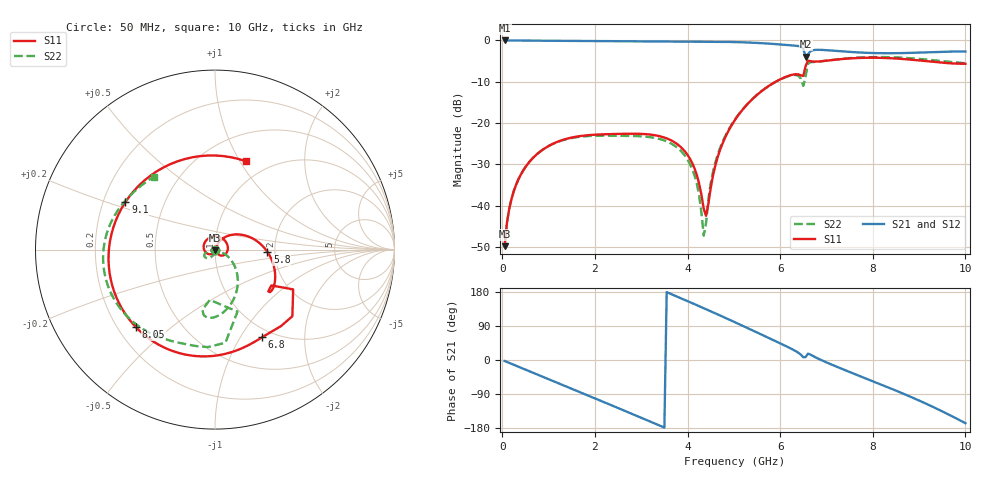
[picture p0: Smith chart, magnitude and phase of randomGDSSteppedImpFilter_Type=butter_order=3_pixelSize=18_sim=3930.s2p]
! freq	dB(S11)	phase(S11)	dB(S12)	phase(S12)
!  dB(S21)	phase(S21)	dB(S22)	phase(S22)
!S-par simulation data
#  GHz  S  DB  R 50
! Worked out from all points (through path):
!   200 points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, 50 MHz to 10 GHz, reference 50 ohm
!   highest |S21| = 0.00 dB at 50 MHz (marker M1); lowest = -3.9 dB at 6.55 GHz (marker M2)
!   group delay of S21, straight-line fit = 146 ps
!   lowest |S11| = -49.8 dB at 50 MHz (marker M3), VSWR 1.01, Z = 50 - j0.322 ohm
!   |S11| at or under -10 dB: start of sweep to 5.902 GHz
!   |S22| runs from -49.8 to -4.0 dB; largest |S21 - S12| = 0
!   S11 on the Smith chart (normalised r, x): 50 MHz: 1.00, -0.01; 5.8 GHz: 1.82, -0.05; 6.8 GHz: 0.89, -1.25; 8.05 GHz: 0.27, -0.38; 9.1 GHz: 0.29, +0.23; 10 GHz: 0.79, +1.06
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0.05  -49.82 -85.8  -0.00 -2.6  -0.00 -2.6  -49.79 -83.5
0.2  -38.35 -101.8  -0.02 -10.2  -0.02 -10.2  -38.28 -94.5
0.5  -30.67 -124.6  -0.04 -25.4  -0.04 -25.4  -30.62 -106.1
1.75  -23.06 139.6  -0.12 -88.5  -0.12 -88.5  -23.24 -139.3
2.5  -22.63 71.8  -0.17 -126.7  -0.17 -126.7  -23.09 -146.9
3.4  -23.19 -7.9  -0.24 -173.1  -0.24 -173.1  -23.87 -155.7
4.05  -28.60 -52.5  -0.27 152.7  -0.27 152.7  -29.86 -168.6
4.25  -34.64 -54.8  -0.29 142.1  -0.29 142.1  -37.45 -165.7
4.35  -40.77 -30.5  -0.29 136.7  -0.29 136.7  -47.26 -114.6
4.4  -42.47 8.9  -0.30 134.0  -0.30 134.0  -44.23 -47.8
4.6  -30.29 64.4  -0.32 123.1  -0.32 123.1  -29.56 -20.7
5.05  -18.84 44.2  -0.40 98.2  -0.40 98.2  -18.70 -34.9
5.8  -10.69 -2.5  -0.80 55.5  -0.80 55.5  -10.71 -68.7
6.4  -8.23 -37.7  -1.37 18.6  -1.37 18.6  -8.61 -99.7
6.55  -6.22 -27.0  -3.92 7.7  -3.92 7.7  -8.69 -70.1
6.7  -5.10 -54.2  -2.38 11.2  -2.38 11.2  -5.23 -100.3
6.8  -5.12 -61.6  -2.26 4.9  -2.26 4.9  -5.16 -107.9
7.45  -4.40 -100.2  -2.74 -29.2  -2.74 -29.2  -4.32 -138.2
8.05  -4.19 -135.4  -3.06 -58.5  -3.06 -58.5  -4.02 -161.6
8.35  -4.29 -154.1  -3.10 -73.2  -3.10 -73.2  -4.05 -172.5
9.1  -4.96 152.0  -2.90 -112.5  -2.90 -112.5  -4.57 161.4
10  -5.66 70.7  -2.67 -166.8  -2.67 -166.8  -5.51 130.0
